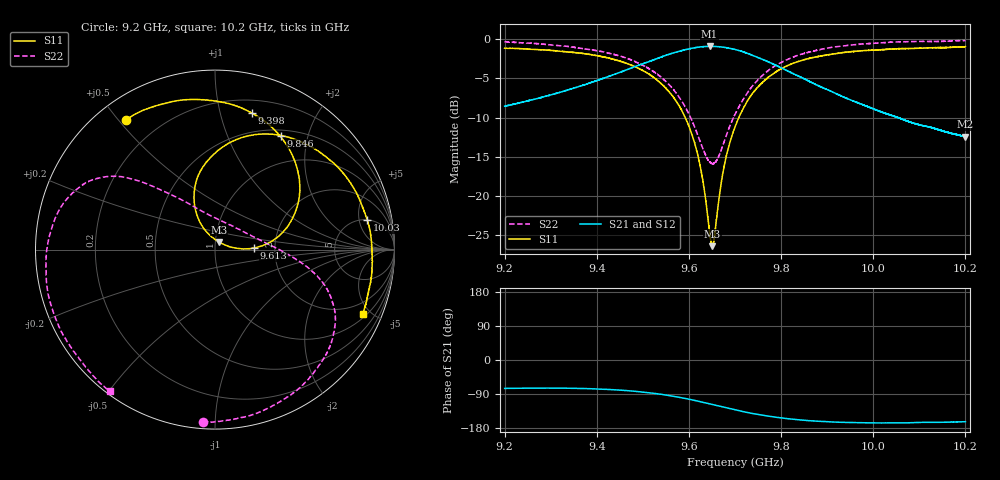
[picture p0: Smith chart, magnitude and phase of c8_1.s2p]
!Agilent Technologies,N5242A,MY51221714,A.09.90.19
!Agilent N5242A: A.09.90.19
!Date: Saturday, December 30, 2023 10:34:40
!Correction: S11(Full 2 Port(1,2))
!S21(Full 2 Port(1,2))
!S12(Full 2 Port(1,2))
!S22(Full 2 Port(1,2))
!S2P File: Measurements: S11, S21, S12, S22:
# Hz S  dB  R 50
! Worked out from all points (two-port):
!   16001 points, 9.2 GHz to 10.2 GHz, reference 50 ohm
!   highest |S21| = -0.88 dB at 9.645 GHz (marker M1); lowest = -12.5 dB at 10.2 GHz (marker M2)
!   |S21| within 3 dB of the highest: 9.466 GHz to 9.809 GHz (342.8 MHz wide, 3.56 % of centre)
!   lowest |S11| = -26.5 dB at 9.651 GHz (marker M3), VSWR 1.10, Z = 52.1 + j4.37 ohm
!   |S11| at or under -10 dB: 9.592 GHz to 9.708 GHz (116.4 MHz wide, 1.21 % of centre)
!   |S22| runs from -15.9 to -0.1 dB; largest |S21 - S12| = 0.014
!   S11 on the Smith chart (normalised r, x): 9.2 GHz: 0.08, +0.52; 9.398 GHz: 0.31, +1.25; 9.613 GHz: 1.55, +0.03; 9.846 GHz: 0.57, +1.58; 10.03 GHz: 5.10, +6.59; 10.2 GHz: 1.22, -4.49
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9.2e9  -1.14 124.4  -8.56 -75.0  -8.54 -75.8  -0.31 -94.0
9.275125e9  -1.32 106.9  -7.51 -74.3  -7.48 -74.8  -0.57 -73.8
9.366688e9  -1.78 83.7  -5.95 -75.1  -5.92 -76.0  -1.15 -50.3
9.398e9  -2.06 75.1  -5.32 -76.3  -5.30 -77.1  -1.44 -42.7
9.475312e9  -3.31 51.4  -3.66 -81.7  -3.64 -82.5  -2.63 -25.9
9.533375e9  -5.33 30.6  -2.40 -89.5  -2.38 -90.1  -4.55 -14.9
9.579812e9  -8.61 12.7  -1.52 -98.7  -1.49 -99.4  -7.49 -4.8
9.612688e9  -13.33 2.1  -1.09 -106.8  -1.06 -107.5  -11.28 9.4
9.6295e9  -17.80 2.9  -0.95 -111.4  -0.93 -112.2  -13.85 25.6
9.644875e9  -24.70 29.6  -0.88 -115.7  -0.89 -116.5  -15.71 51.4
9.650875e9  -26.47 61.7  -0.89 -117.5  -0.89 -118.2  -15.90 63.6
9.676688e9  -16.15 118.8  -1.02 -125.0  -1.00 -125.7  -13.04 107.9
9.7e9  -11.23 114.3  -1.29 -131.5  -1.27 -132.3  -9.61 123.5
9.775875e9  -4.70 84.6  -2.97 -148.7  -2.96 -149.6  -3.83 141.3
9.845625e9  -2.69 60.0  -4.92 -158.6  -4.91 -159.3  -1.87 152.3
9.866688e9  -2.36 53.3  -5.53 -160.7  -5.52 -161.4  -1.54 156.0
9.948625e9  -1.60 30.6  -7.70 -164.9  -7.68 -165.6  -0.75 172.4
1.003212e10  -1.27 10.9  -9.58 -165.9  -9.58 -166.7  -0.38 -168.6
1.003338e10  -1.27 10.5  -9.61 -166.0  -9.60 -166.8  -0.38 -168.3
1.01065e10  -1.13 -4.9  -11.03 -164.6  -11.03 -165.3  -0.26 -150.7
1.019888e10  -0.95 -23.2  -12.45 -162.8  -12.42 -163.7  -0.15 -127.0
1.02e10  -0.94 -23.5  -12.45 -162.9  -12.44 -163.7  -0.15 -126.7
